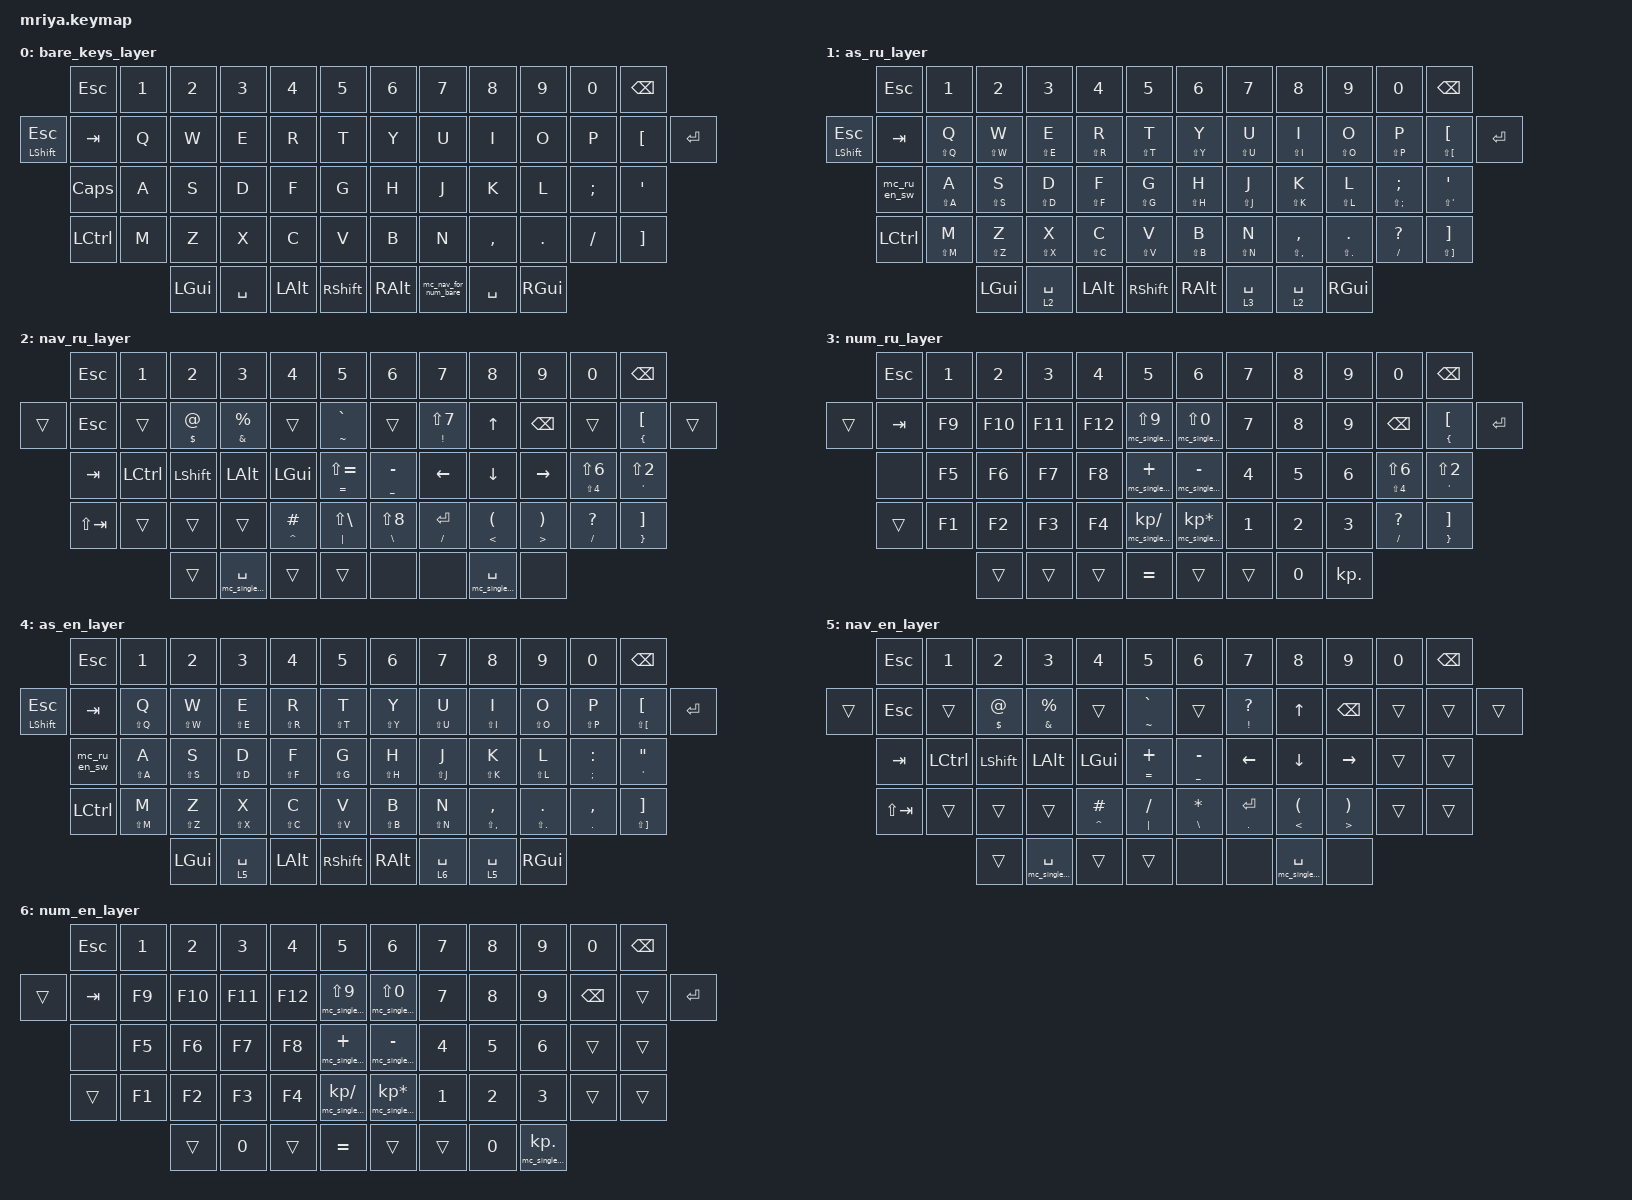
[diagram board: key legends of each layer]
/*
 * Copyright (c) 2023 Andrei Gaevskii
 *
 * SPDX-License-Identifier: MIT
 */

#include <behaviors.dtsi>
#include <dt-bindings/zmk/bt.h>
#include <dt-bindings/zmk/keys.h>
#include <dt-bindings/zmk/outputs.h>

#define FROM_TO(row, col) (((row) << 8) + (col))

&lt { quick-tap-ms = <160>; };

&mt { quick-tap-ms = <160>; };

&kscan0 {
    debounce-press-ms = <1>;
    debounce-release-ms = <10>;
};

&default_merger {
    map = <
                FROM_TO(56,51)
    >;
};

/ {
    combos {
        compatible = "zmk,combos";

        combo_l_boot {
            bindings = <&bootloader>;
            key-positions = <0 5 53>;
        };

        combo_bt_clr {
            bindings = <&bt BT_CLR>;
            key-positions = <53 38 5>;
        };

        combo_bt0 {
            bindings = <&bt BT_SEL 0>;
            key-positions = <39 53 5>;
        };

        combo_bt1 {
            bindings = <&bt BT_SEL 1>;
            key-positions = <53 5 42>;
        };

        combo_bt2 {
            bindings = <&bt BT_SEL 2>;
            key-positions = <53 5 41>;
        };

        combo_bare_ru_tog {
            bindings = <&tog 1>;
            key-positions = <6 54 25>;
            layers = <0 1>;
        };

        combo_ru_en_tog {
            bindings = <&tog 4>;
            key-positions = <6 54 11>;
            layers = <1 4>;
        };

        combo_en_to_bare {
            bindings = <&mc_to_bare_en>;
            key-positions = <54 6 25>;
            layers = <4>;
        };

        combo_output_toggle {
            bindings = <&out OUT_TOG>;
            key-positions = <54 6 22>;
        };

        combo_r_boot {
            bindings = <&bootloader>;
            key-positions = <6 57 11>;
        };
    };

    behaviors {
        as: as {
            compatible = "zmk,behavior-hold-tap";
            label = "AS";
            bindings = <&kp>, <&kp>;

            #binding-cells = <2>;
            tapping-term-ms = <150>;
            quick-tap-ms = <0>;
            flavor = "tap-preferred";
        };

        lt_spc: lt_spc {
            compatible = "zmk,behavior-hold-tap";
            label = "LT_SPC";
            bindings = <&mo>, <&mc_single_tap>;

            #binding-cells = <2>;
            tapping-term-ms = <200>;
            flavor = "balanced";
            hold-trigger-key-positions = <0 1 2 3 4 5 18 17 16 15 14 13 12 26 27 28 29 30 31 42 43 41 40 39 38 50 51 52 53 54 55 56 57 44 45 46 47 48 49 37 36 35 34 32 19 33 20 21 22 23 24 25 6 7 8 9 10 11>;
        };

        as_single: as_single {
            compatible = "zmk,behavior-hold-tap";
            label = "AS_SINGLE";
            bindings = <&mc_single_tap>, <&kp>;

            #binding-cells = <2>;
            tapping-term-ms = <150>;
            quick-tap-ms = <0>;
            flavor = "tap-preferred";
        };

        as_sw_single: as_sw_single {
            compatible = "zmk,behavior-hold-tap";
            label = "AS_SW_SINGLE";
            bindings = <&mc_sw_tap_sw>, <&kp>;

            #binding-cells = <2>;
            tapping-term-ms = <150>;
            quick-tap-ms = <0>;
            flavor = "tap-preferred";
        };

        sw_as_sw_single: sw_as_sw_single {
            compatible = "zmk,behavior-hold-tap";
            label = "SW_AS_SW_SINGLE";
            bindings = <&mc_sw_tap_sw>, <&mc_sw_tap_sw>;

            #binding-cells = <2>;
            tapping-term-ms = <150>;
            quick-tap-ms = <0>;
            flavor = "tap-preferred";
        };

        sw_as_single: sw_as_single {
            compatible = "zmk,behavior-hold-tap";
            label = "SW_AS_SINGLE";
            bindings = <&mc_single_tap>, <&mc_sw_tap_sw>;

            #binding-cells = <2>;
            tapping-term-ms = <150>;
            quick-tap-ms = <0>;
            flavor = "tap-preferred";
        };
    };

    macros {
        mc_ru_en_sw: mc_ru_en_sw {
            compatible = "zmk,behavior-macro";
            #binding-cells = <0>;
            bindings =
                <&macro_tap_time 80>,
                <&kp CAPS>,
                <&macro_wait_time 20>,
                <&macro_tap>,
                <&tog 4>;

            label = "MC_RU_EN_SW";
        };

        mc_to_bare_en: mc_to_bare_en {
            compatible = "zmk,behavior-macro";
            #binding-cells = <0>;
            bindings = <&tog 4 &tog 1>;
            label = "MC_TO_BARE_EN";
        };

        mc_single_tap: mc_single_tap {
            compatible = "zmk,behavior-macro-one-param";
            #binding-cells = <1>;
            bindings = <&macro_tap>, <&macro_param_1to1 &kp MACRO_PLACEHOLDER>;

            label = "MC_SINGLE_TAP";
        };

        mc_sw_tap_sw: mc_sw_tap_sw {
            compatible = "zmk,behavior-macro-one-param";
            #binding-cells = <1>;
            bindings =
                <&macro_tap_time 80>,
                <&kp CAPS>,
                <&macro_wait_time 20>,
                <&macro_tap>,
                <&macro_param_1to1 &kp MACRO_PLACEHOLDER>,
                <&macro_tap_time 80>,
                <&kp CLCK>,
                <&macro_wait_time 20>;

            label = "MC_SW_TAP_SW";
        };

        mc_nav_for_num_bare: mc_nav_for_num_bare {
            compatible = "zmk,behavior-macro";
            #binding-cells = <0>;
            bindings =
                <&macro_tap>,
                <&to 6>,
                <&macro_press>,
                <&kp SPACE>,
                <&macro_pause_for_release>,
                <&macro_release>,
                <&kp SPACE>,
                <&macro_tap>,
                <&to 0>;

            label = "MC_NAV_FOR_NUM_BARE";
        };
    };

    keymap {
        compatible = "zmk,keymap";

        bare_keys_layer {
            bindings = <
                       &kp ESCAPE  &kp N1  &kp N2    &kp N3     &kp N4    &kp N5       &kp N6    &kp N7                &kp N8     &kp N9    &kp N0    &kp BSPC
&mt LEFT_SHIFT ESCAPE  &kp TAB     &kp Q   &kp W     &kp E      &kp R     &kp T        &kp Y     &kp U                 &kp I      &kp O     &kp P     &kp LBKT  &kp RET
                       &kp CAPS    &kp A   &kp S     &kp D      &kp F     &kp G        &kp H     &kp J                 &kp K      &kp L     &kp SEMI  &kp SQT
                       &kp LCTRL   &kp M   &kp Z     &kp X      &kp C     &kp V        &kp B     &kp N                 &kp COMMA  &kp DOT   &kp FSLH  &kp RBKT
                                           &kp LGUI  &kp SPACE  &kp LALT  &kp RSHFT    &kp RALT  &mc_nav_for_num_bare  &kp SPACE  &kp RGUI
            >;
        };

        as_ru_layer {
            bindings = <
               &kp ESCAPE    &kp N1       &kp N2       &kp N3           &kp N4       &kp N5         &kp N6       &kp N7       &kp N8               &kp N9           &kp N0                    &kp BSPC
&mt LSHFT ESC  &kp TAB       &as LS(Q) Q  &as LS(W) W  &as LS(E) E      &as LS(R) R  &as LS(T) T    &as LS(Y) Y  &as LS(U) U  &as LS(I) I          &as LS(O) O      &as LS(P) P               &as LS(LBKT) LBKT  &kp ENTER
               &mc_ru_en_sw  &as LS(A) A  &as LS(S) S  &as LS(D) D      &as LS(F) F  &as LS(G) G    &as LS(H) H  &as LS(J) J  &as LS(K) K          &as LS(L) L      &as LS(SEMI) SEMI         &as LS(SQT) SQT
               &kp LCTRL     &as LS(M) M  &as LS(Z) Z  &as LS(X) X      &as LS(C) C  &as LS(V) V    &as LS(B) B  &as LS(N) N  &as LS(COMMA) COMMA  &as LS(DOT) DOT  &as_single FSLH QUESTION  &as LS(RBKT) RBKT
                                          &kp LGUI     &lt_spc 2 SPACE  &kp LALT     &kp RSHFT      &kp RALT     &lt 3 SPACE  &lt_spc 2 SPACE      &kp RGUI
            >;
        };

        nav_ru_layer {
            bindings = <
        &kp ESCAPE   &kp N1     &kp N2                      &kp N3                      &kp N4                       &kp N5                          &kp N6                  &kp N7                  &kp N8                 &kp N9                 &kp N0                     &kp BSPC
&trans  &kp ESC      &trans     &sw_as_sw_single DOLLAR AT  &as_sw_single AMPS PERCENT  &trans                       &sw_as_sw_single TILDE GRAVE    &trans                  &as_single EXCL LS(N7)  &kp UP                 &kp BSPC               &trans                     &sw_as_sw_single LBRC LBKT         &trans
        &kp TAB      &kp LCTRL  &kp LSHFT                   &kp LALT                    &kp LGUI                     &as_single EQUAL LS(EQUAL)      &as_single UNDER MINUS  &kp LEFT                &kp DOWN               &kp RIGHT              &as_single LS(N4) LS(N6)   &as_sw_single SINGLE_QUOTE LS(N2)
        &kp LS(TAB)  &trans     &trans                      &trans                      &sw_as_sw_single CARET HASH  &as_sw_single PIPE LS(BSLH)     &as_single BSLH LS(N8)  &as_single SLASH RET    &as_sw_single LT LPAR  &as_sw_single GT RPAR  &as_single SLASH QUESTION  &sw_as_sw_single RBRC RBKT
                                &trans                      &mc_single_tap SPACE        &trans                       &trans                          &none                   &none                   &mc_single_tap SPACE   &none
            >;
        };

        num_ru_layer {
            bindings = <
        &kp ESCAPE  &kp N1  &kp N2   &kp N3   &kp N4   &kp N5                      &kp N6                      &kp N7  &kp N8  &kp N9      &kp N0                     &kp BSPC
&trans  &kp TAB     &kp F9  &kp F10  &kp F11  &kp F12  &mc_single_tap LS(N9)       &mc_single_tap LS(N0)       &kp N7  &kp N8  &kp N9      &kp BSPC                   &sw_as_sw_single LBRC LBKT         &kp ENTER
        &none       &kp F5  &kp F6   &kp F7   &kp F8   &mc_single_tap PLUS         &mc_single_tap MINUS        &kp N4  &kp N5  &kp N6      &as_single LS(N4) LS(N6)   &as_sw_single SINGLE_QUOTE LS(N2)
        &trans      &kp F1  &kp F2   &kp F3   &kp F4   &mc_single_tap KP_DIVIDE    &mc_single_tap KP_ASTERISK  &kp N1  &kp N2  &kp N3      &as_single SLASH QUESTION  &sw_as_sw_single RBRC RBKT
                            &trans   &trans   &trans   &kp EQUAL                   &trans                      &trans  &kp N0  &kp KP_DOT
            >;
        };

        as_en_layer {
            bindings = <
               &kp ESCAPE    &kp N1       &kp N2       &kp N3           &kp N4       &kp N5         &kp N6       &kp N7       &kp N8               &kp N9                  &kp N0                   &kp BSPC
&mt LSHFT ESC  &kp TAB       &as LS(Q) Q  &as LS(W) W  &as LS(E) E      &as LS(R) R  &as LS(T) T    &as LS(Y) Y  &as LS(U) U  &as LS(I) I          &as LS(O) O             &as LS(P) P              &as_single LS(LBKT) LBKT             &kp ENTER
               &mc_ru_en_sw  &as LS(A) A  &as LS(S) S  &as LS(D) D      &as LS(F) F  &as LS(G) G    &as LS(H) H  &as LS(J) J  &as LS(K) K          &as LS(L) L             &as_single SEMI COLON    &as_single APOSTROPHE DOUBLE_QUOTES
               &kp LCTRL     &as LS(M) M  &as LS(Z) Z  &as LS(X) X      &as LS(C) C  &as LS(V) V    &as LS(B) B  &as LS(N) N  &as LS(COMMA) COMMA  &as_single LS(DOT) DOT  &as_single PERIOD COMMA  &as_single LS(RBKT) RBKT
                                          &kp LGUI     &lt_spc 5 SPACE  &kp LALT     &kp RSHFT      &kp RALT     &lt 6 SPACE  &lt_spc 5 SPACE      &kp RGUI
            >;
        };

        nav_en_layer {
            bindings = <
        &kp ESCAPE   &kp N1     &kp N2                &kp N3                   &kp N4                 &kp N5                    &kp N6                       &kp N7                           &kp N8                &kp N9              &kp N0  &kp BSPC
&trans  &kp ESCAPE   &trans     &as_single DOLLAR AT  &as_single AMPS PERCENT  &trans                 &as_single TILDE GRAVE    &trans                       &as_single EXCLAMATION QUESTION  &kp UP                &kp BSPC            &trans  &trans    &trans
        &kp TAB      &kp LCTRL  &kp LSHFT             &kp LALT                 &kp LGUI               &as_single EQUAL PLUS     &as_single UNDERSCORE MINUS  &kp LEFT                         &kp DOWN              &kp RIGHT           &trans  &trans
        &kp LS(TAB)  &trans     &trans                &trans                   &as_single CARET HASH  &as_single PIPE SLASH     &as_single BSLH ASTERISK     &as_single DOT RET               &as_single LT LPAR    &as_single GT RPAR  &trans  &trans
                                &trans                &mc_single_tap SPACE     &trans                 &trans                    &none                        &none                            &mc_single_tap SPACE  &none
            >;
        };

        num_en_layer {
            bindings = <
        &kp ESCAPE  &kp N1  &kp N2   &kp N3   &kp N4   &kp N5                      &kp N6                      &kp N7  &kp N8  &kp N9                 &kp N0    &kp BSPC
&trans  &kp TAB     &kp F9  &kp F10  &kp F11  &kp F12  &mc_single_tap LS(N9)       &mc_single_tap LS(N0)       &kp N7  &kp N8  &kp N9                 &kp BSPC  &trans    &kp ENTER
        &none       &kp F5  &kp F6   &kp F7   &kp F8   &mc_single_tap PLUS         &mc_single_tap MINUS        &kp N4  &kp N5  &kp N6                 &trans    &trans
        &trans      &kp F1  &kp F2   &kp F3   &kp F4   &mc_single_tap KP_DIVIDE    &mc_single_tap KP_ASTERISK  &kp N1  &kp N2  &kp N3                 &trans    &trans
                            &trans   &kp N0   &trans   &kp EQUAL                   &trans                      &trans  &kp N0  &mc_single_tap KP_DOT
            >;
        };
    };
};
